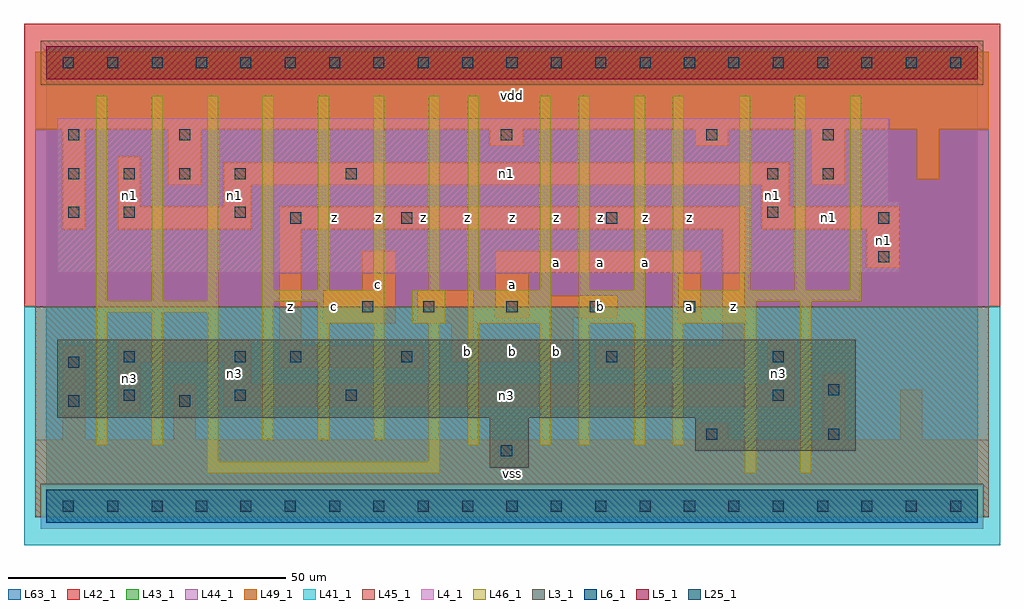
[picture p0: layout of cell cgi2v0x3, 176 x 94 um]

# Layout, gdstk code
import gdstk
lib = gdstk.Library(unit=1e-6, precision=1e-09)
def R(c, l, rs):  # rectangles x0, y0, x1, y1
    for r in rs: c.add(gdstk.rectangle(r[:2], r[2:], *l))
def A(c, l, x, y, w, h, nx, ny, dx, dy):  # array of equal rectangles
    R(c, l, [(x+i*dx, y+j*dy, x+i*dx+w, y+j*dy+h) for i in range(nx) for j in range(ny)])
L3_1 = (3, 1)
L4_1 = (4, 1)
L5_1 = (5, 1)
L6_1 = (6, 1)
L25_1 = (25, 1)
L41_1 = (41, 1)
L42_1 = (42, 1)
L43_1 = (43, 1)
L44_1 = (44, 1)
L45_1 = (45, 1)
L46_1 = (46, 1)
L49_1 = (49, 1)
L63_1 = (63, 1)

cgi2v0x3 = lib.new_cell('cgi2v0x3')
R(cgi2v0x3, L3_1, [(80,7,87,16), (117,10,146,16), (2,16,146,30)])
R(cgi2v0x3, L4_1, [(2,42,154,55), (2,55,152,70)])
R(cgi2v0x3, L5_1, [(0,77,168,83)])
R(cgi2v0x3, L6_1, [(0,-3,168,3), (0,-3,168,3)])
A(cgi2v0x3, L25_1, 3, -1, 2, 2, 21, 2, 8, 80)
A(cgi2v0x3, L25_1, 14, 19, 2, 2, 3, 1, 20, 0)
A(cgi2v0x3, L25_1, 68, 35, 2, 2, 3, 1, 15, 0)
A(cgi2v0x3, L25_1, 4, 59, 2, 2, 4, 1, 10, 0)
R(cgi2v0x3, L25_1, [(82,9,84,11), (119,12,121,14), (141,12,143,14), (4,18,6,20), (24,18,26,20), (131,19,133,21), (141,20,143,22), (4,25,6,27), (14,26,16,28), (34,26,36,28), (44,26,46,28), (64,26,66,28), (101,26,103,28), (131,26,133,28), (57,35,59,37), (115,35,117,37), (150,44,152,46), (44,51,46,53), (64,51,66,53), (101,51,103,53), (150,51,152,53), (4,52,6,54), (14,52,16,54), (34,52,36,54), (130,52,132,54), (54,59,56,61), (130,59,132,61), (140,59,142,61), (4,66,6,68), (24,66,26,68), (82,66,84,68), (119,66,121,68), (140,66,142,68)])
R(cgi2v0x3, L41_1, [(-4,-7,172,36)])
R(cgi2v0x3, L42_1, [(-4,36,172,87)])
R(cgi2v0x3, L43_1, [(0,-3,168,3), (80,7,87,16), (117,10,146,16), (2,16,146,30), (2,42,154,55), (2,55,152,70), (0,77,168,83)])
R(cgi2v0x3, L44_1, [(-1,-4,169,4), (-2,36,170,76), (-2,76,-1,82), (169,76,170,82)])
R(cgi2v0x3, L45_1, [(-2,-2,-1,4), (169,-2,170,4), (-2,4,170,36), (-1,76,169,84)])
A(cgi2v0x3, L46_1, 9, 37, 2, 37, 3, 1, 10, 0)
A(cgi2v0x3, L46_1, 39, 39, 2, 35, 4, 1, 10, 0)
A(cgi2v0x3, L46_1, 125, 39, 2, 35, 3, 1, 10, 0)
R(cgi2v0x3, L46_1, [(29,6,71,8), (126,6,128,33), (136,6,138,37), (29,8,31,35), (69,8,71,33), (9,11,11,35), (19,11,21,35), (76,11,78,33), (89,11,91,33), (96,11,98,33), (106,11,108,33), (113,11,115,33), (39,12,41,37), (49,12,51,33), (59,12,61,33), (49,33,61,37), (66,33,72,39), (76,33,91,39), (96,33,108,39), (113,33,128,37), (9,35,31,37), (39,37,61,39), (113,37,147,39), (76,39,78,74), (89,39,91,74), (96,39,98,74), (106,39,108,74), (113,39,115,74)])
R(cgi2v0x3, L49_1, [(-2,-2,170,12), (3,12,7,29), (23,12,27,22), (117,12,123,15), (140,12,144,24), (154,12,158,21), (13,17,17,26), (32,18,135,22), (32,22,37,26), (130,22,135,30), (42,25,68,29), (99,25,126,29), (13,26,37,30), (73,26,95,30), (42,29,46,50), (122,29,126,50), (73,30,77,33), (91,30,95,34), (50,33,63,39), (67,33,77,39), (114,33,118,42), (81,34,87,42), (91,34,103,38), (57,39,63,46), (81,42,118,46), (148,43,154,50), (3,50,7,68), (13,50,37,54), (42,50,126,54), (129,50,154,54), (13,54,17,63), (32,54,37,58), (129,54,134,58), (22,58,28,68), (32,58,134,62), (138,58,144,68), (157,59,161,68), (80,65,86,68), (117,65,123,68), (-2,68,170,82)])
R(cgi2v0x3, L63_1, [(0,0,168,80)])
cgi2v0x3.add(gdstk.Label('n3', (15,23), layer=49, texttype=1))
cgi2v0x3.add(gdstk.Label('n1', (15,56), layer=49, texttype=1))
cgi2v0x3.add(gdstk.Label('n3', (34,24), layer=49, texttype=1))
cgi2v0x3.add(gdstk.Label('c', (52,36), layer=49, texttype=1))
cgi2v0x3.add(gdstk.Label('c', (60,40), layer=49, texttype=1))
cgi2v0x3.add(gdstk.Label('z', (44,36), layer=49, texttype=1))
cgi2v0x3.add(gdstk.Label('z', (52,52), layer=49, texttype=1))
cgi2v0x3.add(gdstk.Label('z', (60,52), layer=49, texttype=1))
cgi2v0x3.add(gdstk.Label('n1', (34,56), layer=49, texttype=1))
cgi2v0x3.add(gdstk.Label('vss', (84,6), layer=49, texttype=1))
cgi2v0x3.add(gdstk.Label('b', (76,28), layer=49, texttype=1))
cgi2v0x3.add(gdstk.Label('b', (84,28), layer=49, texttype=1))
cgi2v0x3.add(gdstk.Label('b', (92,28), layer=49, texttype=1))
cgi2v0x3.add(gdstk.Label('a', (84,40), layer=49, texttype=1))
cgi2v0x3.add(gdstk.Label('a', (92,44), layer=49, texttype=1))
cgi2v0x3.add(gdstk.Label('z', (76,52), layer=49, texttype=1))
cgi2v0x3.add(gdstk.Label('z', (84,52), layer=49, texttype=1))
cgi2v0x3.add(gdstk.Label('z', (92,52), layer=49, texttype=1))
cgi2v0x3.add(gdstk.Label('z', (68,52), layer=49, texttype=1))
cgi2v0x3.add(gdstk.Label('vdd', (84,74), layer=49, texttype=1))
cgi2v0x3.add(gdstk.Label('b', (100,36), layer=49, texttype=1))
cgi2v0x3.add(gdstk.Label('a', (100,44), layer=49, texttype=1))
cgi2v0x3.add(gdstk.Label('a', (108,44), layer=49, texttype=1))
cgi2v0x3.add(gdstk.Label('a', (116,36), layer=49, texttype=1))
cgi2v0x3.add(gdstk.Label('z', (124,36), layer=49, texttype=1))
cgi2v0x3.add(gdstk.Label('z', (108,52), layer=49, texttype=1))
cgi2v0x3.add(gdstk.Label('z', (116,52), layer=49, texttype=1))
cgi2v0x3.add(gdstk.Label('n1', (131,56), layer=49, texttype=1))
cgi2v0x3.add(gdstk.Label('z', (100,52), layer=49, texttype=1))
cgi2v0x3.add(gdstk.Label('n1', (83,60), layer=49, texttype=1))
cgi2v0x3.add(gdstk.Label('n3', (132,24), layer=49, texttype=1))
cgi2v0x3.add(gdstk.Label('n3', (83,20), layer=49, texttype=1))
cgi2v0x3.add(gdstk.Label('n1', (151,48), layer=49, texttype=1))
cgi2v0x3.add(gdstk.Label('n1', (141,52), layer=49, texttype=1))

lib.write_gds('cgi2v0x3.gds')
